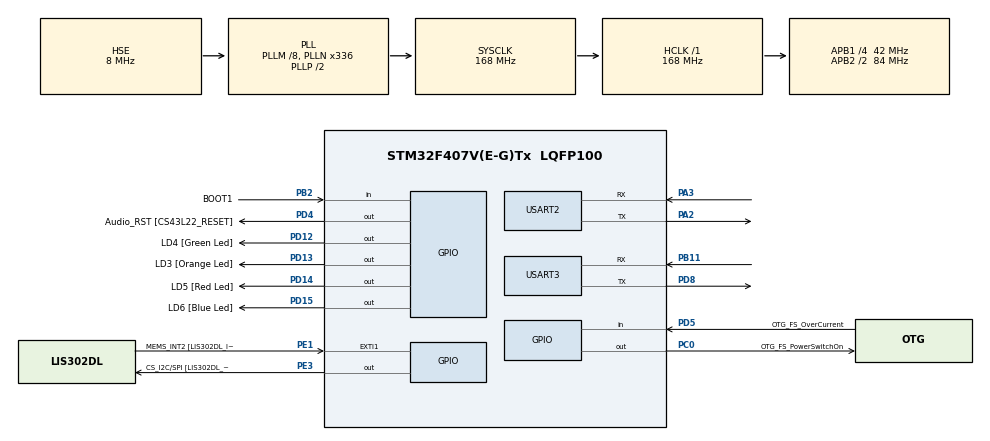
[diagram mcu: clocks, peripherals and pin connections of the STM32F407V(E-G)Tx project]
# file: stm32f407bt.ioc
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Dma.Request0=USART3_RX
Dma.Request1=USART3_TX
Dma.USART3_RX.0.Channel=DMA_CHANNEL_4
Dma.USART3_RX.0.Direction=DMA_PERIPH_TO_MEMORY
Dma.USART3_RX.0.FIFOMode=DMA_FIFOMODE_DISABLE
Dma.USART3_RX.0.Instance=DMA1_Stream1
Dma.USART3_RX.0.MemDataAlignment=DMA_MDATAALIGN_BYTE
Dma.USART3_RX.0.MemInc=DMA_MINC_ENABLE
Dma.USART3_RX.0.Mode=DMA_NORMAL
Dma.USART3_RX.0.PeriphDataAlignment=DMA_PDATAALIGN_BYTE
Dma.USART3_RX.0.PeriphInc=DMA_PINC_DISABLE
Dma.USART3_RX.0.Priority=DMA_PRIORITY_LOW
Dma.USART3_TX.1.Channel=DMA_CHANNEL_4
Dma.USART3_TX.1.Direction=DMA_MEMORY_TO_PERIPH
Dma.USART3_TX.1.FIFOMode=DMA_FIFOMODE_DISABLE
Dma.USART3_TX.1.Instance=DMA1_Stream3
Dma.USART3_TX.1.MemDataAlignment=DMA_MDATAALIGN_BYTE
Dma.USART3_TX.1.MemInc=DMA_MINC_ENABLE
Dma.USART3_TX.1.Mode=DMA_NORMAL
Dma.USART3_TX.1.PeriphDataAlignment=DMA_PDATAALIGN_BYTE
Dma.USART3_TX.1.PeriphInc=DMA_PINC_DISABLE
Dma.USART3_TX.1.Priority=DMA_PRIORITY_LOW
Mcu.Family=STM32F4
Mcu.Name=STM32F407V(E-G)Tx
Mcu.Package=LQFP100
NVIC.DMA1_Stream1_IRQn=true\:0\:0\:false
NVIC.DMA1_Stream3_IRQn=true\:0\:0\:false
NVIC.PriorityGroup=NVIC_PRIORITYGROUP_0
NVIC.TIM3_IRQn=true\:0\:0\:false
NVIC.USART2_IRQn=true\:0\:0\:false
NVIC.USART3_IRQn=true\:0\:0\:false
PA0-WKUP.Signal=USART2_CTS
PA1.Signal=USART2_RTS
PA10.GPIO_Label=OTG_FS_ID
PA10.GPIO_Mode=GPIO_MODE_AF_PP
PA10.GPIO_PuPd=GPIO_NOPULL
PA10.GPIO_Speed=GPIO_SPEED_LOW
PA10.Signal=USB_OTG_FS_ID
PA11.GPIO_Label=OTG_FS_DM
PA11.GPIO_Mode=GPIO_MODE_AF_PP
PA11.GPIO_PuPd=GPIO_NOPULL
PA11.GPIO_Speed=GPIO_SPEED_LOW
PA11.Signal=USB_OTG_FS_DM
PA12.GPIO_Label=OTG_FS_DP
PA12.GPIO_Mode=GPIO_MODE_AF_PP
PA12.GPIO_PuPd=GPIO_NOPULL
PA12.GPIO_Speed=GPIO_SPEED_LOW
PA12.Signal=USB_OTG_FS_DP
PA13.GPIO_Label=SWDIO
PA13.Signal=SYS_JTMS-SWDIO
PA14.GPIO_Label=SWCLK
PA14.Signal=SYS_JTCK-SWCLK
PA2.Mode=Asynchronous
PA2.Signal=USART2_TX
PA3.GPIO_Speed=GPIO_SPEED_HIGH
PA3.Mode=Asynchronous
PA3.Signal=USART2_RX
PA4.GPIO_Label=I2S3_WS [CS43L22_LRCK]
PA4.GPIO_Mode=GPIO_MODE_AF_PP
PA4.GPIO_PuPd=GPIO_NOPULL
PA4.GPIO_Speed=GPIO_SPEED_LOW
PA4.Signal=I2S3_WS
PA5.GPIO_Label=SPI1_SCK [LIS302DL_SCL/SPC]
PA5.GPIO_Mode=GPIO_MODE_AF_PP
PA5.GPIO_PuPd=GPIO_NOPULL
PA5.GPIO_Speed=GPIO_SPEED_LOW
PA5.Signal=SPI1_SCK
PA6.GPIO_Label=SPI1_MISO [LIS302DL_SDO]
PA6.GPIO_Mode=GPIO_MODE_AF_PP
PA6.GPIO_PuPd=GPIO_NOPULL
PA6.GPIO_Speed=GPIO_SPEED_LOW
PA6.Signal=SPI1_MISO
PA7.GPIO_Label=SPI1_MOSI [LIS302DL_SDA/SDI/SDO]
PA7.GPIO_Mode=GPIO_MODE_AF_PP
PA7.GPIO_PuPd=GPIO_NOPULL
PA7.GPIO_Speed=GPIO_SPEED_LOW
PA7.Signal=SPI1_MOSI
PA9.GPIO_Label=VBUS_FS
PA9.GPIO_Mode=GPIO_MODE_INPUT
PA9.GPIO_PuPd=GPIO_NOPULL
PA9.Signal=USB_OTG_FS_VBUS
PB10.GPIO_Label=CLK_IN [MP45DT02_CLK]
PB10.GPIO_Mode=GPIO_MODE_AF_PP
PB10.GPIO_PuPd=GPIO_NOPULL
PB10.GPIO_Speed=GPIO_SPEED_LOW
PB10.Signal=I2S2_CK
PB11.Mode=Asynchronous
PB11.Signal=USART3_RX
PB2.GPIO_Label=BOOT1
PB2.GPIO_Mode=GPIO_MODE_INPUT
PB2.GPIO_PuPd=GPIO_NOPULL
PB2.Signal=GPIO_Input
PB3.GPIO_Label=SWO
PB3.Signal=SYS_JTDO-SWO
PB6.GPIO_Label=Audio_SCL [CS43L22_SCL]
PB6.GPIO_Mode=GPIO_MODE_AF_OD
PB6.GPIO_PuPd=GPIO_NOPULL
PB6.GPIO_Speed=GPIO_SPEED_LOW
PB6.Signal=I2C1_SCL
PB9.GPIO_Label=Audio_SDA [CS43L22_SDA]
PB9.GPIO_Mode=GPIO_MODE_AF_OD
PB9.GPIO_PuPd=GPIO_NOPULL
PB9.GPIO_Speed=GPIO_SPEED_LOW
PB9.Signal=I2C1_SDA
PC0.GPIO_Label=OTG_FS_PowerSwitchOn
PC0.GPIO_PuPd=GPIO_NOPULL
PC0.GPIO_Speed=GPIO_SPEED_LOW
PC0.Signal=GPIO_Output
PC10.GPIO_Label=I2S3_SCK [CS43L22_SCLK]
PC10.GPIO_Mode=GPIO_MODE_AF_PP
PC10.GPIO_PuPd=GPIO_NOPULL
PC10.GPIO_Speed=GPIO_SPEED_LOW
PC10.Signal=I2S3_CK
PC12.GPIO_Label=I2S3_SD [CS43L22_SDIN]
PC12.GPIO_Mode=GPIO_MODE_AF_PP
PC12.GPIO_PuPd=GPIO_NOPULL
PC12.GPIO_Speed=GPIO_SPEED_LOW
PC12.Signal=I2S3_SD
PC14-OSC32_IN.GPIO_Label=PC14-OSC32_IN
PC14-OSC32_IN.Signal=RCC_OSC32_IN
PC15-OSC32_OUT.GPIO_Label=PC15-OSC32_OUT
PC15-OSC32_OUT.Signal=RCC_OSC32_OUT
PC3.GPIO_Label=PDM_OUT [MP45DT02_DOUT]
PC3.GPIO_Mode=GPIO_MODE_AF_PP
PC3.GPIO_PuPd=GPIO_NOPULL
PC3.GPIO_Speed=GPIO_SPEED_LOW
PC3.Signal=I2S2_SD
PC7.GPIO_Label=I2S3_MCK [CS43L22_MCLK]
PC7.GPIO_Mode=GPIO_MODE_AF_PP
PC7.GPIO_PuPd=GPIO_NOPULL
PC7.GPIO_Speed=GPIO_SPEED_LOW
PC7.Signal=I2S3_MCK
PD12.GPIO_Label=LD4 [Green Led]
PD12.GPIO_PuPd=GPIO_NOPULL
PD12.GPIO_Speed=GPIO_SPEED_LOW
PD12.Signal=GPIO_Output
PD13.GPIO_Label=LD3 [Orange Led]
PD13.GPIO_PuPd=GPIO_NOPULL
PD13.GPIO_Speed=GPIO_SPEED_LOW
PD13.Signal=GPIO_Output
PD14.GPIO_Label=LD5 [Red Led]
PD14.GPIO_PuPd=GPIO_NOPULL
PD14.GPIO_Speed=GPIO_SPEED_LOW
PD14.Signal=GPIO_Output
PD15.GPIO_Label=LD6 [Blue Led]
PD15.GPIO_PuPd=GPIO_NOPULL
PD15.GPIO_Speed=GPIO_SPEED_LOW
PD15.Signal=GPIO_Output
PD4.GPIO_Label=Audio_RST [CS43L22_RESET]
PD4.GPIO_PuPd=GPIO_NOPULL
PD4.GPIO_Speed=GPIO_SPEED_LOW
PD4.Signal=GPIO_Output
PD5.GPIO_Label=OTG_FS_OverCurrent
PD5.GPIO_Mode=GPIO_MODE_INPUT
PD5.GPIO_PuPd=GPIO_NOPULL
PD5.Signal=GPIO_Input
PD8.Mode=Asynchronous
PD8.Signal=USART3_TX
PE1.GPIO_Label=MEMS_INT2 [LIS302DL_INT2]
PE1.GPIO_ModeDefaultEXTI=GPIO_MODE_EVT_RISING
PE1.GPIO_PuPd=GPIO_NOPULL
PE1.Signal=GPXTI1
PE3.GPIO_Label=CS_I2C/SPI [LIS302DL_CS_I2C/SPI]
PE3.GPIO_PuPd=GPIO_NOPULL
PE3.GPIO_Speed=GPIO_SPEED_LOW
PE3.Signal=GPIO_Output
PH0-OSC_IN.GPIO_Label=PH0-OSC_IN
PH0-OSC_IN.Mode=HSE-External-Oscillator
PH0-OSC_IN.Signal=RCC_OSC_IN
PH1-OSC_OUT.GPIO_Label=PH1-OSC_OUT
PH1-OSC_OUT.Mode=HSE-External-Oscillator
PH1-OSC_OUT.Signal=RCC_OSC_OUT
ProjectManager.TargetToolchain=MDK-ARM V5
RCC.AHBFreq_Value=168000000
RCC.APB1CLKDivider=RCC_HCLK_DIV4
RCC.APB1Freq_Value=42000000
RCC.APB1TimFreq_Value=84000000
RCC.APB2CLKDivider=RCC_HCLK_DIV2
RCC.APB2Freq_Value=84000000
RCC.APB2TimFreq_Value=168000000
RCC.CortexFreq_Value=168000000
RCC.HCLKFreq_Value=168000000
RCC.HSE_VALUE=8000000
RCC.HSI_VALUE=16000000
RCC.LSE_VALUE=32768
RCC.PLLM=8
RCC.PLLN=336
RCC.PLLQ=7
RCC.PLLSourceVirtual=RCC_PLLSOURCE_HSE
RCC.SYSCLKFreq_VALUE=168000000
RCC.SYSCLKSource=RCC_SYSCLKSOURCE_PLLCLK
RCC.VCOOutputFreq_Value=336000000
TIM3.Period=9999
TIM3.Prescaler=16800
USART3.OverSampling=UART_OVERSAMPLING_8
VP_TIM3_VS_ClockSourceINT.Mode=Internal
board=STM32F4DISCOVERY

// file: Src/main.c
/**
  ******************************************************************************
  * File Name          : main.c
  * Description        : Main program body
  ******************************************************************************
  *
  * COPYRIGHT(c) 2015 STMicroelectronics
  *
  * Redistribution and use in source and binary forms, with or without modification,
  * are permitted provided that the following conditions are met:
  *   1. Redistributions of source code must retain the above copyright notice,
  *      this list of conditions and the following disclaimer.
  *   2. Redistributions in binary form must reproduce the above copyright notice,
  *      this list of conditions and the following disclaimer in the documentation
  *      and/or other materials provided with the distribution.
  *   3. Neither the name of STMicroelectronics nor the names of its contributors
  *      may be used to endorse or promote products derived from this software
  *      without specific prior written permission.
  *
  * THIS SOFTWARE IS PROVIDED BY THE COPYRIGHT HOLDERS AND CONTRIBUTORS "AS IS"
  * AND ANY EXPRESS OR IMPLIED WARRANTIES, INCLUDING, BUT NOT LIMITED TO, THE
  * IMPLIED WARRANTIES OF MERCHANTABILITY AND FITNESS FOR A PARTICULAR PURPOSE ARE
  * DISCLAIMED. IN NO EVENT SHALL THE COPYRIGHT HOLDER OR CONTRIBUTORS BE LIABLE
  * FOR ANY DIRECT, INDIRECT, INCIDENTAL, SPECIAL, EXEMPLARY, OR CONSEQUENTIAL
  * DAMAGES (INCLUDING, BUT NOT LIMITED TO, PROCUREMENT OF SUBSTITUTE GOODS OR
  * SERVICES; LOSS OF USE, DATA, OR PROFITS; OR BUSINESS INTERRUPTION) HOWEVER
  * CAUSED AND ON ANY THEORY OF LIABILITY, WHETHER IN CONTRACT, STRICT LIABILITY,
  * OR TORT (INCLUDING NEGLIGENCE OR OTHERWISE) ARISING IN ANY WAY OUT OF THE USE
  * OF THIS SOFTWARE, EVEN IF ADVISED OF THE POSSIBILITY OF SUCH DAMAGE.
  *
  ******************************************************************************
  */
#include "stm32f4xx_hal.h"
#include "string.h"

UART_HandleTypeDef huart2;
UART_HandleTypeDef huart3;
DMA_HandleTypeDef hdma_usart3_rx;
DMA_HandleTypeDef hdma_usart3_tx;
TIM_HandleTypeDef htim3;

/* USER CODE BEGIN PV */
/* Private variables ---------------------------------------------------------*/

/* USER CODE END PV */

void SystemClock_Config(void);
static void MX_GPIO_Init(void);
static void MX_DMA_Init(void);
static void MX_USART2_UART_Init(void);
static void MX_USART3_UART_Init(void);
static void MX_TIM3_Init(void);

/* USER CODE BEGIN PFP */
/* Private function prototypes -----------------------------------------------*/

/* USER CODE END PFP */

/* USER CODE BEGIN 0 */
const int BUFFSIZE = 5;
uint8_t g_cUart3_Buff[BUFFSIZE] = "Hello";
uint8_t cmdStart[BUFFSIZE] = "start";
uint8_t cmdStop[BUFFSIZE] = "stop";
/* USER CODE END 0 */

int main(void)
{

  /* MCU Configuration----------------------------------------------------------*/

  /* Reset of all peripherals, Initializes the Flash interface and the Systick. */
  HAL_Init();

  /* Configure the system clock */
  SystemClock_Config();

  /* Initialize all configured peripherals */
  MX_GPIO_Init();
  MX_DMA_Init();
  MX_USART2_UART_Init();
  MX_USART3_UART_Init();
	MX_TIM3_Init();

  /* USER CODE BEGIN 2 */
	HAL_TIM_Base_Start_IT(&htim3);
	HAL_UART_Transmit_DMA(&huart3,g_cUart3_Buff,BUFFSIZE);

  /* USER CODE END 2 */

  /* Infinite loop */
  while (1)
  {

		HAL_UART_Receive_DMA(&huart3,g_cUart3_Buff,BUFFSIZE);

		//HAL_UART_Transmit_IT(&huart3,g_cUart3_Buff,5);

  }

}

/** System Clock Configuration
*/
void SystemClock_Config(void)
{

  RCC_OscInitTypeDef RCC_OscInitStruct;
  RCC_ClkInitTypeDef RCC_ClkInitStruct;

  __PWR_CLK_ENABLE();

  __HAL_PWR_VOLTAGESCALING_CONFIG(PWR_REGULATOR_VOLTAGE_SCALE1);

  RCC_OscInitStruct.OscillatorType = RCC_OSCILLATORTYPE_HSE;
  RCC_OscInitStruct.HSEState = RCC_HSE_ON;
  RCC_OscInitStruct.PLL.PLLState = RCC_PLL_ON;
  RCC_OscInitStruct.PLL.PLLSource = RCC_PLLSOURCE_HSE;
  RCC_OscInitStruct.PLL.PLLM = 8;
  RCC_OscInitStruct.PLL.PLLN = 336;
  RCC_OscInitStruct.PLL.PLLP = RCC_PLLP_DIV2;
  RCC_OscInitStruct.PLL.PLLQ = 7;
  HAL_RCC_OscConfig(&RCC_OscInitStruct);

  RCC_ClkInitStruct.ClockType = RCC_CLOCKTYPE_SYSCLK|RCC_CLOCKTYPE_PCLK1
                              |RCC_CLOCKTYPE_PCLK2;
  RCC_ClkInitStruct.SYSCLKSource = RCC_SYSCLKSOURCE_PLLCLK;
  RCC_ClkInitStruct.AHBCLKDivider = RCC_SYSCLK_DIV1;
  RCC_ClkInitStruct.APB1CLKDivider = RCC_HCLK_DIV4;
  RCC_ClkInitStruct.APB2CLKDivider = RCC_HCLK_DIV2;
  HAL_RCC_ClockConfig(&RCC_ClkInitStruct, FLASH_LATENCY_5);

  HAL_SYSTICK_Config(HAL_RCC_GetHCLKFreq()/1000);

  HAL_SYSTICK_CLKSourceConfig(SYSTICK_CLKSOURCE_HCLK);

  /* SysTick_IRQn interrupt configuration */
  HAL_NVIC_SetPriority(SysTick_IRQn, 0, 0);
}

/* USART2 init function */
void MX_USART2_UART_Init(void)
{

  huart2.Instance = USART2;
  huart2.Init.BaudRate = 9600;
  huart2.Init.WordLength = UART_WORDLENGTH_8B;
  huart2.Init.StopBits = UART_STOPBITS_1;
  huart2.Init.Parity = UART_PARITY_NONE;
  huart2.Init.Mode = UART_MODE_TX_RX;
  huart2.Init.HwFlowCtl = UART_HWCONTROL_NONE;
  huart2.Init.OverSampling = UART_OVERSAMPLING_16;
  HAL_UART_Init(&huart2);

}

/* TIM3 init function */
void MX_TIM3_Init(void)
{

  TIM_ClockConfigTypeDef sClockSourceConfig;
  TIM_MasterConfigTypeDef sMasterConfig;

  htim3.Instance = TIM3;
  htim3.Init.Prescaler = 16800;
  htim3.Init.CounterMode = TIM_COUNTERMODE_UP;
  htim3.Init.Period = 9999;
  htim3.Init.ClockDivision = TIM_CLOCKDIVISION_DIV1;
  HAL_TIM_Base_Init(&htim3);

  sClockSourceConfig.ClockSource = TIM_CLOCKSOURCE_INTERNAL;
  HAL_TIM_ConfigClockSource(&htim3, &sClockSourceConfig);

  sMasterConfig.MasterOutputTrigger = TIM_TRGO_RESET;
  sMasterConfig.MasterSlaveMode = TIM_MASTERSLAVEMODE_DISABLE;
  HAL_TIMEx_MasterConfigSynchronization(&htim3, &sMasterConfig);

}

/* USART3 init function */
void MX_USART3_UART_Init(void)
{

  huart3.Instance = USART3;
  huart3.Init.BaudRate = 9600;
  huart3.Init.WordLength = UART_WORDLENGTH_8B;
  huart3.Init.StopBits = UART_STOPBITS_1;
  huart3.Init.Parity = UART_PARITY_NONE;
  huart3.Init.Mode = UART_MODE_TX_RX;
  huart3.Init.HwFlowCtl = UART_HWCONTROL_NONE;
  huart3.Init.OverSampling = UART_OVERSAMPLING_16;
  HAL_UART_Init(&huart3);

}

void MX_DMA_Init(void)
{
  /* DMA controller clock enable */
  __DMA1_CLK_ENABLE();

  /* DMA interrupt init */
  HAL_NVIC_SetPriority(DMA1_Stream1_IRQn, 0, 0);
  HAL_NVIC_EnableIRQ(DMA1_Stream1_IRQn);
  HAL_NVIC_SetPriority(DMA1_Stream3_IRQn, 0, 0);
  HAL_NVIC_EnableIRQ(DMA1_Stream3_IRQn);

}

/** Configure pins as
        * Analog
        * Input
        * Output
        * EVENT_OUT
        * EXTI
     PC3   ------> I2S2_SD
     PA4   ------> I2S3_WS
     PA5   ------> SPI1_SCK
     PA6   ------> SPI1_MISO
     PA7   ------> SPI1_MOSI
     PB10   ------> I2S2_CK
     PC7   ------> I2S3_MCK
     PA9   ------> USB_OTG_FS_VBUS
     PA10   ------> USB_OTG_FS_ID
     PA11   ------> USB_OTG_FS_DM
     PA12   ------> USB_OTG_FS_DP
     PC10   ------> I2S3_CK
     PC12   ------> I2S3_SD
     PB6   ------> I2C1_SCL
     PB9   ------> I2C1_SDA
*/
void MX_GPIO_Init(void)
{

  GPIO_InitTypeDef GPIO_InitStruct;

  /* GPIO Ports Clock Enable */
  __GPIOE_CLK_ENABLE();
  __GPIOC_CLK_ENABLE();
  __GPIOH_CLK_ENABLE();
  __GPIOA_CLK_ENABLE();
  __GPIOB_CLK_ENABLE();
  __GPIOD_CLK_ENABLE();

  /*Configure GPIO pin : CS_I2C_SPI_Pin */
  GPIO_InitStruct.Pin = CS_I2C_SPI_Pin;
  GPIO_InitStruct.Mode = GPIO_MODE_OUTPUT_PP;
  GPIO_InitStruct.Pull = GPIO_NOPULL;
  GPIO_InitStruct.Speed = GPIO_SPEED_LOW;
  HAL_GPIO_Init(CS_I2C_SPI_GPIO_Port, &GPIO_InitStruct);

  /*Configure GPIO pin : OTG_FS_PowerSwitchOn_Pin */
  GPIO_InitStruct.Pin = OTG_FS_PowerSwitchOn_Pin;
  GPIO_InitStruct.Mode = GPIO_MODE_OUTPUT_PP;
  GPIO_InitStruct.Pull = GPIO_NOPULL;
  GPIO_InitStruct.Speed = GPIO_SPEED_LOW;
  HAL_GPIO_Init(OTG_FS_PowerSwitchOn_GPIO_Port, &GPIO_InitStruct);

  /*Configure GPIO pin : PDM_OUT_Pin */
  GPIO_InitStruct.Pin = PDM_OUT_Pin;
  GPIO_InitStruct.Mode = GPIO_MODE_AF_PP;
  GPIO_InitStruct.Pull = GPIO_NOPULL;
  GPIO_InitStruct.Speed = GPIO_SPEED_LOW;
  GPIO_InitStruct.Alternate = GPIO_AF5_SPI2;
  HAL_GPIO_Init(PDM_OUT_GPIO_Port, &GPIO_InitStruct);

  /*Configure GPIO pin : PA4 */
  GPIO_InitStruct.Pin = GPIO_PIN_4;
  GPIO_InitStruct.Mode = GPIO_MODE_AF_PP;
  GPIO_InitStruct.Pull = GPIO_NOPULL;
  GPIO_InitStruct.Speed = GPIO_SPEED_LOW;
  GPIO_InitStruct.Alternate = GPIO_AF6_SPI3;
  HAL_GPIO_Init(GPIOA, &GPIO_InitStruct);

  /*Configure GPIO pins : PA5 PA6 PA7 */
  GPIO_InitStruct.Pin = GPIO_PIN_5|GPIO_PIN_6|GPIO_PIN_7;
  GPIO_InitStruct.Mode = GPIO_MODE_AF_PP;
  GPIO_InitStruct.Pull = GPIO_NOPULL;
  GPIO_InitStruct.Speed = GPIO_SPEED_LOW;
  GPIO_InitStruct.Alternate = GPIO_AF5_SPI1;
  HAL_GPIO_Init(GPIOA, &GPIO_InitStruct);

  /*Configure GPIO pin : BOOT1_Pin */
  GPIO_InitStruct.Pin = BOOT1_Pin;
  GPIO_InitStruct.Mode = GPIO_MODE_INPUT;
  GPIO_InitStruct.Pull = GPIO_NOPULL;
  HAL_GPIO_Init(BOOT1_GPIO_Port, &GPIO_InitStruct);

  /*Configure GPIO pin : CLK_IN_Pin */
  GPIO_InitStruct.Pin = CLK_IN_Pin;
  GPIO_InitStruct.Mode = GPIO_MODE_AF_PP;
  GPIO_InitStruct.Pull = GPIO_NOPULL;
  GPIO_InitStruct.Speed = GPIO_SPEED_LOW;
  GPIO_InitStruct.Alternate = GPIO_AF5_SPI2;
  HAL_GPIO_Init(CLK_IN_GPIO_Port, &GPIO_InitStruct);

  /*Configure GPIO pins : LD4_Pin LD3_Pin LD5_Pin LD6_Pin
                           Audio_RST_Pin */
  GPIO_InitStruct.Pin = LD4_Pin|LD3_Pin|LD5_Pin|LD6_Pin
                          |Audio_RST_Pin;
  GPIO_InitStruct.Mode = GPIO_MODE_OUTPUT_PP;
  GPIO_InitStruct.Pull = GPIO_NOPULL;
  GPIO_InitStruct.Speed = GPIO_SPEED_LOW;
  HAL_GPIO_Init(GPIOD, &GPIO_InitStruct);

  /*Configure GPIO pins : PC7 I2S3_SCK_Pin PC12 */
  GPIO_InitStruct.Pin = GPIO_PIN_7|I2S3_SCK_Pin|GPIO_PIN_12;
  GPIO_InitStruct.Mode = GPIO_MODE_AF_PP;
  GPIO_InitStruct.Pull = GPIO_NOPULL;
  GPIO_InitStruct.Speed = GPIO_SPEED_LOW;
  GPIO_InitStruct.Alternate = GPIO_AF6_SPI3;
  HAL_GPIO_Init(GPIOC, &GPIO_InitStruct);

  /*Configure GPIO pin : VBUS_FS_Pin */
  GPIO_InitStruct.Pin = VBUS_FS_Pin;
  GPIO_InitStruct.Mode = GPIO_MODE_INPUT;
  GPIO_InitStruct.Pull = GPIO_NOPULL;
  HAL_GPIO_Init(VBUS_FS_GPIO_Port, &GPIO_InitStruct);

  /*Configure GPIO pins : OTG_FS_ID_Pin OTG_FS_DM_Pin OTG_FS_DP_Pin */
  GPIO_InitStruct.Pin = OTG_FS_ID_Pin|OTG_FS_DM_Pin|OTG_FS_DP_Pin;
  GPIO_InitStruct.Mode = GPIO_MODE_AF_PP;
  GPIO_InitStruct.Pull = GPIO_NOPULL;
  GPIO_InitStruct.Speed = GPIO_SPEED_LOW;
  GPIO_InitStruct.Alternate = GPIO_AF10_OTG_FS;
  HAL_GPIO_Init(GPIOA, &GPIO_InitStruct);

  /*Configure GPIO pin : OTG_FS_OverCurrent_Pin */
  GPIO_InitStruct.Pin = OTG_FS_OverCurrent_Pin;
  GPIO_InitStruct.Mode = GPIO_MODE_INPUT;
  GPIO_InitStruct.Pull = GPIO_NOPULL;
  HAL_GPIO_Init(OTG_FS_OverCurrent_GPIO_Port, &GPIO_InitStruct);

  /*Configure GPIO pins : Audio_SCL_Pin Audio_SDA_Pin */
  GPIO_InitStruct.Pin = Audio_SCL_Pin|Audio_SDA_Pin;
  GPIO_InitStruct.Mode = GPIO_MODE_AF_OD;
  GPIO_InitStruct.Pull = GPIO_PULLUP;
  GPIO_InitStruct.Speed = GPIO_SPEED_LOW;
  GPIO_InitStruct.Alternate = GPIO_AF4_I2C1;
  HAL_GPIO_Init(GPIOB, &GPIO_InitStruct);

  /*Configure GPIO pin : MEMS_INT2_Pin */
  GPIO_InitStruct.Pin = MEMS_INT2_Pin;
  GPIO_InitStruct.Mode = GPIO_MODE_EVT_RISING;
  GPIO_InitStruct.Pull = GPIO_NOPULL;
  HAL_GPIO_Init(MEMS_INT2_GPIO_Port, &GPIO_InitStruct);

}

/* USER CODE BEGIN 4 */
void HAL_UART_TxCpltCallback(UART_HandleTypeDef *UartHandle)
{

	  if(UartHandle->Instance == USART3)

  {

    HAL_GPIO_TogglePin(GPIOD,GPIO_PIN_13);

  }

}

void HAL_UART_RxCpltCallback(UART_HandleTypeDef *UartHandle)
{
  if(UartHandle->Instance == USART3)  {

    if(!memcmp(g_cUart3_Buff,cmdStart,BUFFSIZE)){

			HAL_UART_Transmit_DMA(&huart3,cmdStart,BUFFSIZE);
		}

		if(!memcmp(g_cUart3_Buff,cmdStop,BUFFSIZE)){

			HAL_UART_Transmit_DMA(&huart3,cmdStop,BUFFSIZE);
		}

  }

}

void HAL_UART_ErrorCallback(UART_HandleTypeDef *UartHandle)
{
  /* Turn LED3 on: Transfer error in reception/transmission process */
  HAL_GPIO_TogglePin(GPIOD,GPIO_PIN_15);
}

void HAL_TIM_PeriodElapsedCallback(TIM_HandleTypeDef *htim)
{
   if (htim->Instance==TIM3)
      {
        HAL_GPIO_TogglePin(GPIOD,GPIO_PIN_15);

      }

}
/* USER CODE END 4 */

/************************ (C) COPYRIGHT STMicroelectronics *****END OF FILE****/
